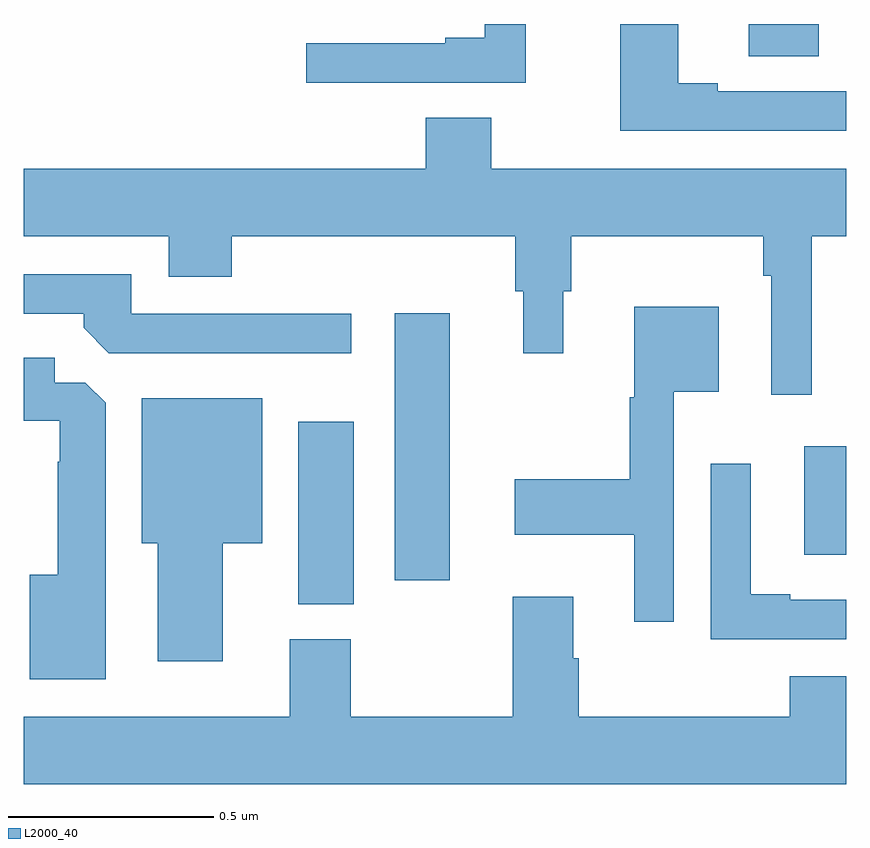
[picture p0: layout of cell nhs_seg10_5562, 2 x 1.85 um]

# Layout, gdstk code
import gdstk
lib = gdstk.Library(unit=1e-6, precision=1e-09)
def R(c, l, rs):  # rectangles x0, y0, x1, y1
    for r in rs: c.add(gdstk.rectangle(r[:2], r[2:], *l))
def P(c, l, *ps):  # polygons
    for p in ps: c.add(gdstk.Polygon(p, *l))
L2000_40 = (2000, 40)

nhs_seg10_5562 = lib.new_cell('nhs_seg10_5562')
R(nhs_seg10_5562, L2000_40, [(180.668,1298.089,180.802,1298.533), (180.902,1298.148,181.036,1298.797), (181.898,1298.21,182,1298.473), (181.763,1299.421,181.933,1299.5)])
P(nhs_seg10_5562, L2000_40, [(181.221,1299.5),(181.121,1299.5),(181.121,1299.466),(181.025,1299.466),(181.025,1299.453),(180.687,1299.453),(180.687,1299.357),(181.221,1299.357)],
  [(182,1299.336),(181.687,1299.336),(181.687,1299.356),(181.591,1299.356),(181.591,1299.5),(181.451,1299.5),(181.451,1299.24),(182,1299.24)],
  [(181.916,1298.984),(182,1298.984),(182,1299.148),(181.137,1299.148),(181.137,1299.272),(180.977,1299.272),(180.977,1299.148),(180,1299.148),(180,1298.984),(180.353,1298.984),(180.353,1298.885),(180.506,1298.885),(180.506,1298.984),(181.195,1298.984),(181.195,1298.85),(181.214,1298.85),(181.214,1298.7),(181.312,1298.7),(181.312,1298.85),(181.331,1298.85),(181.331,1298.984),(181.798,1298.984),(181.798,1298.888),(181.818,1298.888),(181.818,1298.598),(181.916,1298.598)],
  [(180.796,1298.796),(180.261,1298.796),(180.261,1298.892),(180,1298.892),(180,1298.796),(180.146,1298.796),(180.146,1298.762),(180.207,1298.7),(180.796,1298.7)],
  [(181.581,1298.606),(181.69,1298.606),(181.69,1298.812),(181.484,1298.812),(181.484,1298.592),(181.473,1298.592),(181.473,1298.393),(181.194,1298.393),(181.194,1298.258),(181.484,1298.258),(181.484,1298.046),(181.581,1298.046)],
  [(180.199,1298.579),(180.15,1298.628),(180.076,1298.628),(180.076,1298.689),(180,1298.689),(180,1298.535),(180.087,1298.535),(180.087,1298.435),(180.083,1298.435),(180.083,1298.161),(180.014,1298.161),(180.014,1297.907),(180.199,1297.907)],
  [(180.484,1298.237),(180.58,1298.237),(180.58,1298.59),(180.287,1298.59),(180.287,1298.237),(180.326,1298.237),(180.326,1297.95),(180.484,1297.95)],
  [(182,1298.1),(181.864,1298.1),(181.864,1298.113),(181.768,1298.113),(181.768,1298.431),(181.671,1298.431),(181.671,1298.004),(182,1298.004)],
  [(182,1297.914),(181.862,1297.914),(181.862,1297.816),(181.349,1297.816),(181.349,1297.958),(181.336,1297.958),(181.336,1298.107),(181.189,1298.107),(181.189,1297.816),(180.795,1297.816),(180.795,1298.004),(180.647,1298.004),(180.647,1297.816),(180,1297.816),(180,1297.652),(182,1297.652)])

lib.write_gds('nhs_seg10_5562.gds')
